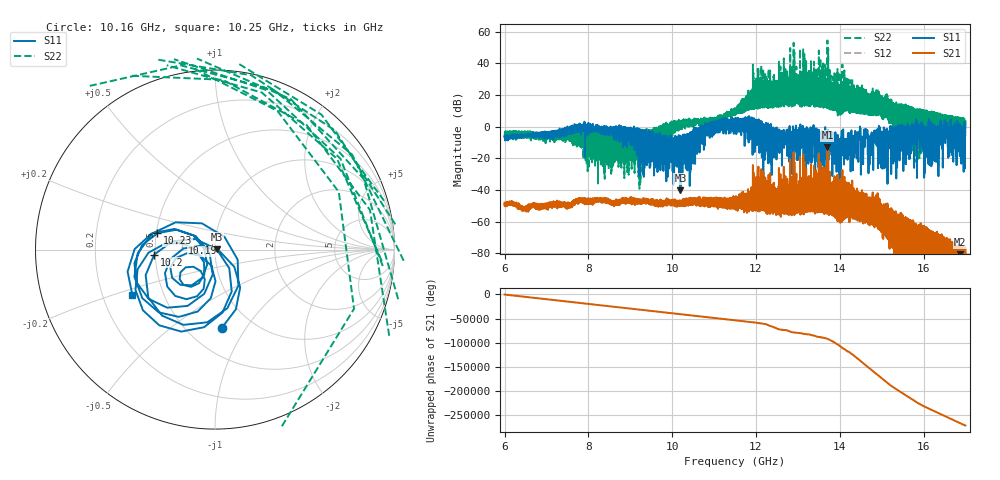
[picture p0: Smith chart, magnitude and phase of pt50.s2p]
#  HZ  S  RI  R  50.00
! Rohde & Schwarz Vector Network Analyzer
! Rohde-Schwarz,ZNA67-2Port,1332450062101215,3.01
! Created: UTC 10/16/2026, 9:47:28 AM
! freq[Hz]  re:S11  im:S11  re:S21  im:S21  re:S12  im:S12  re:S22  im:S22
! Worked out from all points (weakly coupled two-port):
!   11001 points, 6 GHz to 17 GHz, reference 50 ohm
!   highest |S21| = -12.86 dB at 13.71 GHz (marker M1); lowest = -88.7 dB at 16.86 GHz (marker M2)
!   lowest |S11| = -40.2 dB at 10.2 GHz (marker M3), VSWR 1.02, Z = 51 + j0.216 ohm
!   |S11| at or under -10 dB: 14.00335 GHz to 14.03191 GHz (28.56 MHz wide, 0.204 % of centre); 14.16515 GHz to 14.19087 GHz (25.72 MHz wide, 0.181 % of centre); 14.28716 GHz to 14.31809 GHz (30.93 MHz wide, 0.216 % of centre) (the widest 3 of 414)
!   |S22| runs from -39.1 to 54.6 dB; largest |S21 - S12| = 0.0077
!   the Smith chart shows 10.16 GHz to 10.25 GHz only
!   S11 on the Smith chart (normalised r, x): 10.16 GHz: 0.73, -0.78; 10.19 GHz: 0.69, +0.05; 10.2 GHz: 0.49, -0.03; 10.23 GHz: 0.51, +0.10; 10.25 GHz: 0.33, -0.23
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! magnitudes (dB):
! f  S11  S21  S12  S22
! 6 GHz  -6.5  -47.9  -47.9  -5.3
! 7.834 GHz  0.3  -45.5  -45.4  -7.8
! 9.237 GHz  -2.1  -47.2  -47.1  -3.9
! 9.667 GHz  -5.8  -50.5  -50.6  -2.8
! 10.16 GHz  -7.2  -48.0  -48.0  4.2
! 10.19 GHz  -14.7  -46.6  -46.7  1.3
! 10.2 GHz  -40.2  -47.6  -47.8  2.5
! 10.2 GHz  -9.4  -49.9  -50.0  -0.5
! 10.23 GHz  -9.5  -48.5  -48.5  -1.4
! 10.25 GHz  -5.6  -48.8  -48.9  2.3
! 11.5 GHz  5.1  -49.3  -49.1  8.6
! 12.59 GHz  -5.5  -56.9  -56.5  12.8
! 13.33 GHz  -18.3  -49.2  -49.1  17.1
! 13.71 GHz  -9.1  -12.9  -12.8  54.6
! 13.97 GHz  -17.6  -51.6  -51.9  17.2
! 14.09 GHz  -3.7  -52.4  -52.5  14.9
! 15.17 GHz  -4.8  -67.5  -67.5  5.3
! 15.61 GHz  -0.8  -79.0  -78.5  -4.5
! 15.85 GHz  -10.0  -84.4  -83.9  -11.4
! 16.05 GHz  -1.9  -79.1  -79.3  -3.4
! 16.86 GHz  -2.5  -88.7  -88.1  -2.8
! 17 GHz  1.6  -81.7  -82.0  2.0
